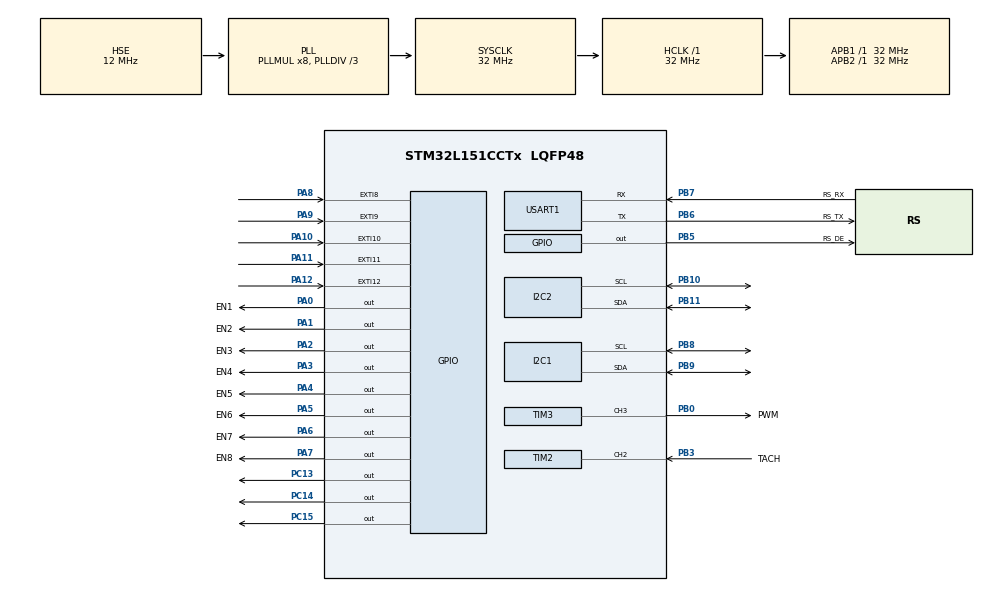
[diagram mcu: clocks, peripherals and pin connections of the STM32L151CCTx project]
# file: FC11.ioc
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Mcu.Family=STM32L1
Mcu.Name=STM32L151CCTx
Mcu.Package=LQFP48
NVIC.EXTI15_10_IRQn=true\:0\:0\:false\:true\:true\:2\:true\:true\:true
NVIC.EXTI9_5_IRQn=true\:0\:0\:false\:true\:true\:3\:true\:true\:true
NVIC.PriorityGroup=NVIC_PRIORITYGROUP_4
NVIC.TIM2_IRQn=true\:0\:0\:false\:false\:true\:true\:true\:true
NVIC.TIM4_IRQn=true\:0\:0\:false\:false\:true\:true\:true\:true
NVIC.USART1_IRQn=true\:0\:0\:false\:true\:true\:1\:true\:true\:true
PA0-WKUP1.GPIO_Label=EN1
PA0-WKUP1.Signal=GPIO_Output
PA1.GPIO_Label=EN2
PA1.Signal=GPIO_Output
PA10.GPIO_ModeDefaultEXTI=GPIO_MODE_IT_RISING_FALLING
PA10.GPIO_PuPd=GPIO_PULLUP
PA10.Signal=GPXTI10
PA11.GPIO_ModeDefaultEXTI=GPIO_MODE_IT_RISING_FALLING
PA11.GPIO_PuPd=GPIO_PULLUP
PA11.Signal=GPXTI11
PA12.GPIO_ModeDefaultEXTI=GPIO_MODE_IT_RISING_FALLING
PA12.GPIO_PuPd=GPIO_PULLUP
PA12.Signal=GPXTI12
PA13.Mode=Serial_Wire
PA13.Signal=SYS_JTMS-SWDIO
PA14.Mode=Serial_Wire
PA14.Signal=SYS_JTCK-SWCLK
PA2.GPIO_Label=EN3
PA2.Signal=GPIO_Output
PA3.GPIO_Label=EN4
PA3.Signal=GPIO_Output
PA4.GPIO_Label=EN5
PA4.Signal=GPIO_Output
PA5.GPIO_Label=EN6
PA5.Signal=GPIO_Output
PA6.GPIO_Label=EN7
PA6.Signal=GPIO_Output
PA7.GPIO_Label=EN8
PA7.Signal=GPIO_Output
PA8.GPIO_ModeDefaultEXTI=GPIO_MODE_IT_RISING_FALLING
PA8.GPIO_PuPd=GPIO_PULLUP
PA8.Signal=GPXTI8
PA9.GPIO_ModeDefaultEXTI=GPIO_MODE_IT_RISING_FALLING
PA9.GPIO_PuPd=GPIO_PULLUP
PA9.Signal=GPXTI9
PB0.GPIO_Label=PWM
PB0.Signal=S_TIM3_CH3
PB10.Mode=I2C
PB10.Signal=I2C2_SCL
PB11.Mode=I2C
PB11.Signal=I2C2_SDA
PB3.GPIO_Label=TACH
PB3.Signal=S_TIM2_CH2
PB5.GPIO_Label=RS_DE
PB5.Signal=GPIO_Output
PB6.GPIO_Label=RS_TX
PB6.GPIO_PuPd=GPIO_NOPULL
PB6.Mode=Asynchronous
PB6.Signal=USART1_TX
PB7.GPIO_Label=RS_RX
PB7.GPIO_PuPd=GPIO_NOPULL
PB7.Mode=Asynchronous
PB7.Signal=USART1_RX
PB8.Mode=I2C
PB8.Signal=I2C1_SCL
PB9.Mode=I2C
PB9.Signal=I2C1_SDA
PC13-WKUP2.Signal=GPIO_Output
PC14-OSC32_IN.Signal=GPIO_Output
PC15-OSC32_OUT.Signal=GPIO_Output
PH0-OSC_IN.Mode=HSE-External-Oscillator
PH0-OSC_IN.Signal=RCC_OSC_IN
PH1-OSC_OUT.Mode=HSE-External-Oscillator
PH1-OSC_OUT.Signal=RCC_OSC_OUT
ProjectManager.HeapSize=0x200
ProjectManager.StackSize=0x400
ProjectManager.TargetToolchain=Makefile
RCC.48MHZClocksFreq_Value=48000000
RCC.AHBFreq_Value=32000000
RCC.APB1Freq_Value=32000000
RCC.APB1TimFreq_Value=32000000
RCC.APB2Freq_Value=32000000
RCC.APB2TimFreq_Value=32000000
RCC.HCLKFreq_Value=32000000
RCC.HSE_VALUE=12000000
RCC.HSI_VALUE=16000000
RCC.LSE_VALUE=32768
RCC.MSI_VALUE=2097000
RCC.PLLDIV=RCC_PLL_DIV3
RCC.PLLMUL=RCC_PLL_MUL8
RCC.PLLSourceVirtual=RCC_PLLSOURCE_HSE
RCC.SYSCLKFreq_VALUE=32000000
RCC.SYSCLKSource=RCC_SYSCLKSOURCE_PLLCLK
RCC.VCOOutputFreq_Value=96000000
SH.S_TIM2_CH2.0=TIM2_CH2,Input_Capture2_from_TI2
SH.S_TIM3_CH3.0=TIM3_CH3,PWM Generation3 CH3
TIM2.Channel-Input_Capture2_from_TI2=TIM_CHANNEL_2
TIM2.Prescaler=320
TIM3.AutoReloadPreload=TIM_AUTORELOAD_PRELOAD_ENABLE
TIM3.Channel-PWM\ Generation3\ CH3=TIM_CHANNEL_3
TIM3.Period=100
TIM3.Prescaler=32000
TIM4.Period=100
TIM4.Prescaler=32000
USART1.VirtualMode=VM_ASYNC
VP_TIM2_VS_ClockSourceINT.Mode=Internal
VP_TIM4_VS_ClockSourceINT.Mode=Internal
board=custom

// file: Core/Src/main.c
/* USER CODE BEGIN Header */
/**
  ******************************************************************************
  * @file           : main.c
  * @brief          : Main program body
  ******************************************************************************
  * @attention
  *
  * Copyright (c) 2024 STMicroelectronics.
  * All rights reserved.
  *
  * This software is licensed under terms that can be found in the LICENSE file
  * in the root directory of this software component.
  * If no LICENSE file comes with this software, it is provided AS-IS.
  *
  ******************************************************************************
  */
/* USER CODE END Header */
#include "main.h"
#include "i2c.h"
#include "tim.h"
#include "usart.h"
#include "gpio.h"

/* USER CODE BEGIN Includes */
#include <stdio.h>
#include "cli.h"
#include "fc11.h"
/* USER CODE END Includes */

/* USER CODE BEGIN PV */
uint8_t usart_buf[1];
/* USER CODE END PV */

void SystemClock_Config(void);
static void MX_NVIC_Init(void);
/* USER CODE BEGIN PFP */
static cli_status_t cmd_read_status(int argc, char **argv);
static cli_status_t cmd_relay_l_off(int argc, char **argv);
static cli_status_t cmd_relay_l_on(int argc, char **argv);
static cli_status_t cmd_relay_m_off(int argc, char **argv);
static cli_status_t cmd_relay_m_on(int argc, char **argv);
static cli_status_t cmd_version(int argc, char **argv);
static cli_status_t cmd_diagnostic_mode(int argc, char **argv);
static cli_status_t cmd_reset(int argc, char **argv);
static cli_status_t cmd_upgrade_mode(int argc, char **argv);
/* USER CODE END PFP */

/* USER CODE BEGIN 0 */
cmd_t cmd_tbl[] = {
  {.cmd = "R", .func = cmd_read_status},
  {.cmd = "L0", .func = cmd_relay_l_off},
  {.cmd = "L1", .func = cmd_relay_l_on},
  {.cmd = "M0", .func = cmd_relay_m_off},
  {.cmd = "M1", .func = cmd_relay_m_on},
  {.cmd = "version", .func = cmd_version},
  {.cmd = "diagnostic_mode_on", .func = cmd_diagnostic_mode},
  {.cmd = "board_reset", .func = cmd_reset},
  {.cmd = "remote_upgrade_mode", .func = cmd_upgrade_mode}
  };

/* USER CODE END 0 */

int main(void)
{

  /* MCU Configuration--------------------------------------------------------*/

  /* Reset of all peripherals, Initializes the Flash interface and the Systick. */
  HAL_Init();

  /* Configure the system clock */
  SystemClock_Config();

  /* Initialize all configured peripherals */
  MX_GPIO_Init();
  MX_I2C1_Init();
  MX_I2C2_Init();
  MX_TIM2_Init();
  MX_TIM3_Init();
  MX_USART1_UART_Init();
  MX_TIM4_Init();

  /* Initialize interrupts */
  MX_NVIC_Init();
  /* USER CODE BEGIN 2 */
  //uint8_t msg_buf[35] = {'\0'};
  //uint8_t cnt = 0;
  cli_init(usart_print, cmd_tbl, sizeof(cmd_tbl));
  /* USER CODE END 2 */

  /* Infinite loop */
  /* USER CODE BEGIN WHILE */
  HAL_GPIO_WritePin(GPIOC, GPIO_PIN_13, GPIO_PIN_SET);
  HAL_GPIO_WritePin(GPIOC, GPIO_PIN_14, GPIO_PIN_SET);
  HAL_GPIO_WritePin(GPIOC, GPIO_PIN_15, GPIO_PIN_RESET);

  fc11_init();
  gpio_sw_state_read();
  uint8_t addr = gpio_sw_addr_get();
  fc11_address_set(addr);

  gpio_fans_toggle_state();

  HAL_TIM_IC_Start_IT(&htim2, TIM_CHANNEL_2);

  while (1)
  {
    /* Check address */
    uint8_t new_addr = gpio_sw_addr_get();
    if (new_addr != addr)
    {
      fc11_address_set(addr);
    }

    /* Parse the message from console */
    cli_process();

    /* Some delay */
    HAL_Delay(250);

    /* USER CODE END WHILE */

  }
}

void SystemClock_Config(void)
{
  RCC_OscInitTypeDef RCC_OscInitStruct = {0};
  RCC_ClkInitTypeDef RCC_ClkInitStruct = {0};

  /** Configure the main internal regulator output voltage
  */
  __HAL_PWR_VOLTAGESCALING_CONFIG(PWR_REGULATOR_VOLTAGE_SCALE1);

  /** Initializes the RCC Oscillators according to the specified parameters
  * in the RCC_OscInitTypeDef structure.
  */
  RCC_OscInitStruct.OscillatorType = RCC_OSCILLATORTYPE_HSE;
  RCC_OscInitStruct.HSEState = RCC_HSE_ON;
  RCC_OscInitStruct.PLL.PLLState = RCC_PLL_ON;
  RCC_OscInitStruct.PLL.PLLSource = RCC_PLLSOURCE_HSE;
  RCC_OscInitStruct.PLL.PLLMUL = RCC_PLL_MUL8;
  RCC_OscInitStruct.PLL.PLLDIV = RCC_PLL_DIV3;
  if (HAL_RCC_OscConfig(&RCC_OscInitStruct) != HAL_OK)
  {
    Error_Handler();
  }

  /** Initializes the CPU, AHB and APB buses clocks
  */
  RCC_ClkInitStruct.ClockType = RCC_CLOCKTYPE_HCLK|RCC_CLOCKTYPE_SYSCLK
                              |RCC_CLOCKTYPE_PCLK1|RCC_CLOCKTYPE_PCLK2;
  RCC_ClkInitStruct.SYSCLKSource = RCC_SYSCLKSOURCE_PLLCLK;
  RCC_ClkInitStruct.AHBCLKDivider = RCC_SYSCLK_DIV1;
  RCC_ClkInitStruct.APB1CLKDivider = RCC_HCLK_DIV1;
  RCC_ClkInitStruct.APB2CLKDivider = RCC_HCLK_DIV1;

  if (HAL_RCC_ClockConfig(&RCC_ClkInitStruct, FLASH_LATENCY_1) != HAL_OK)
  {
    Error_Handler();
  }
}

/**
  * @brief NVIC Configuration.
  * @retval None
  */
static void MX_NVIC_Init(void)
{
  /* USART1_IRQn interrupt configuration */
  NVIC_SetPriority(USART1_IRQn, NVIC_EncodePriority(NVIC_GetPriorityGrouping(),0, 0));
  NVIC_EnableIRQ(USART1_IRQn);
  /* EXTI15_10_IRQn interrupt configuration */
  HAL_NVIC_SetPriority(EXTI15_10_IRQn, 0, 0);
  HAL_NVIC_EnableIRQ(EXTI15_10_IRQn);
  /* EXTI9_5_IRQn interrupt configuration */
  HAL_NVIC_SetPriority(EXTI9_5_IRQn, 0, 0);
  HAL_NVIC_EnableIRQ(EXTI9_5_IRQn);
}

/* USER CODE BEGIN 4 */
cli_status_t cmd_read_status(int argc, char **argv)
{
  char status_buf[64];
  fc11_status_string_get(status_buf);
  cli_print(status_buf, true);

	return CLI_OK;
}

cli_status_t cmd_relay_l_off(int argc, char **argv)
{
  fc11_out_state_set(REL_L_PIN_IDX, GPIO_PIN_RESET);
  cli_print("OK\r", true);
	return CLI_OK;
}

cli_status_t cmd_relay_l_on(int argc, char **argv)
{
  fc11_out_state_set(REL_L_PIN_IDX, GPIO_PIN_SET);
  cli_print("OK\r", true);

	return CLI_OK;
}

cli_status_t cmd_relay_m_off(int argc, char **argv)
{
  fc11_out_state_set(REL_M_PIN_IDX, GPIO_PIN_RESET);
  cli_print("OK\r", true);

	return CLI_OK;
}

cli_status_t cmd_relay_m_on(int argc, char **argv)
{
  fc11_out_state_set(REL_M_PIN_IDX, GPIO_PIN_SET);
  cli_print("OK\r", true);

	return CLI_OK;
}

cli_status_t cmd_version(int argc, char **argv)
{
  char status_buf[64];
  fc11_version_string_get(status_buf);
  cli_print(status_buf, true);
	return CLI_OK;
}

cli_status_t cmd_diagnostic_mode(int argc, char **argv)
{
  cli_diag_mode_on();
  cli_print("OK\r", true);

	return CLI_OK;
}

cli_status_t cmd_reset(int argc, char **argv)
{
  cli_print("OK\r", true);
  NVIC_SystemReset();

	return CLI_OK;
}

cli_status_t cmd_upgrade_mode(int argc, char **argv)
{

	return CLI_OK;
}

/* USER CODE END 4 */

void Error_Handler(void)
{
  __disable_irq();
  while (1)
  {
  }
}
